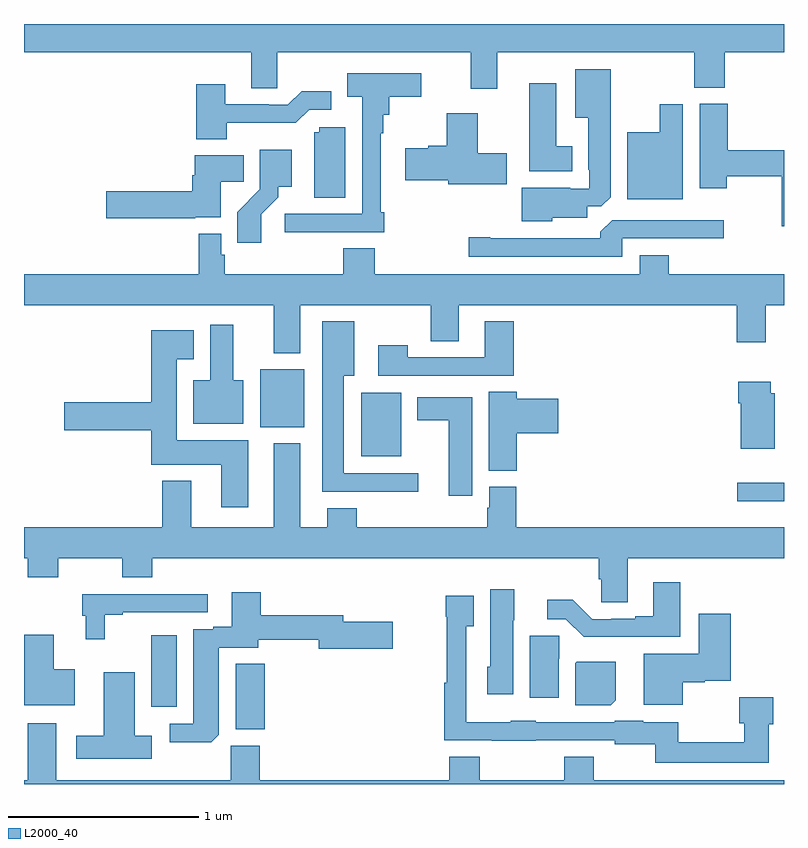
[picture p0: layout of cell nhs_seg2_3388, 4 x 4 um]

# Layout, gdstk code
import gdstk
lib = gdstk.Library(unit=1e-6, precision=1e-09)
def R(c, l, rs):  # rectangles x0, y0, x1, y1
    for r in rs: c.add(gdstk.rectangle(r[:2], r[2:], *l))
def P(c, l, *ps):  # polygons
    for p in ps: c.add(gdstk.Polygon(p, *l))
L2000_40 = (2000, 40)

nhs_seg2_3388 = lib.new_cell('nhs_seg2_3388')
R(nhs_seg2_3388, L2000_40, [(290.114,628.087,290.267,628.433), (289.67,628.206,289.804,628.582), (292.755,629.288,293,629.385), (290.774,629.525,290.986,629.86), (290.243,629.678,290.476,629.983)])
P(nhs_seg2_3388, L2000_40, [(292.528,631.465),(292.688,631.465),(292.688,631.652),(293,631.652),(293,631.8),(289,631.8),(289,631.652),(290.195,631.652),(290.195,631.462),(290.334,631.462),(290.334,631.652),(291.35,631.652),(291.35,631.458),(291.49,631.458),(291.49,631.652),(292.528,631.652)],
  [(291.78,630.779),(291.964,630.779),(291.964,630.84),(292.038,630.84),(292.087,630.889),(292.087,631.561),(291.902,631.561),(291.902,631.307),(291.971,631.307),(291.971,631.033),(291.975,631.033),(291.975,630.933),(291.875,630.933),(291.875,630.937),(291.62,630.937),(291.62,630.761),(291.78,630.761)],
  [(290.597,630.705),(290.897,630.705),(290.897,630.808),(290.877,630.808),(290.877,631.226),(290.89,631.226),(290.89,631.322),(290.922,631.322),(290.922,631.418),(291.091,631.418),(291.091,631.54),(290.701,631.54),(290.701,631.418),(290.781,631.418),(290.781,630.801),(290.373,630.801),(290.373,630.703),(290.597,630.703)],
  [(291.886,631.156),(291.802,631.156),(291.802,631.489),(291.659,631.489),(291.659,631.025),(291.886,631.025)],
  [(290.067,631.28),(290.431,631.28),(290.502,631.35),(290.616,631.35),(290.616,631.447),(290.461,631.447),(290.388,631.374),(290.288,631.374),(290.288,631.377),(290.059,631.377),(290.059,631.483),(289.907,631.483),(289.907,631.193),(290.067,631.193)],
  [(293,631.136),(292.703,631.136),(292.703,631.38),(292.556,631.38),(292.556,630.936),(292.698,630.936),(292.698,631),(292.987,631),(292.987,630.735),(293,630.735)],
  [(292.468,631.378),(292.346,631.378),(292.346,631.231),(292.175,631.231),(292.175,630.878),(292.468,630.878)],
  [(291.541,631.119),(291.388,631.119),(291.388,631.33),(291.226,631.33),(291.226,631.16),(291.128,631.16),(291.128,631.147),(291.006,631.147),(291.006,630.977),(291.233,630.977),(291.233,630.956),(291.541,630.956)],
  [(290.692,631.257),(290.553,631.257),(290.553,631.23),(290.528,631.23),(290.528,630.886),(290.692,630.886)],
  [(290.248,630.799),(290.338,630.889),(290.338,630.944),(290.41,630.944),(290.41,631.138),(290.241,631.138),(290.241,630.929),(290.122,630.81),(290.122,630.648),(290.248,630.648)],
  [(289.902,630.782),(290.035,630.782),(290.035,630.97),(290.156,630.97),(290.156,631.108),(289.898,631.108),(289.898,631.004),(289.886,631.004),(289.886,630.92),(289.434,630.92),(289.434,630.778),(289.902,630.778)],
  [(292.149,630.672),(292.684,630.672),(292.684,630.768),(292.095,630.768),(292.034,630.706),(292.034,630.672),(291.454,630.672),(291.454,630.677),(291.342,630.677),(291.342,630.576),(292.149,630.576)],
  [(290.455,630.32),(291.142,630.32),(291.142,630.13),(291.289,630.13),(291.289,630.32),(292.751,630.32),(292.751,630.126),(292.903,630.126),(292.903,630.32),(293,630.32),(293,630.484),(292.394,630.484),(292.394,630.583),(292.241,630.583),(292.241,630.484),(290.846,630.484),(290.846,630.62),(290.681,630.62),(290.681,630.484),(290.057,630.484),(290.057,630.585),(290.037,630.585),(290.037,630.697),(289.921,630.697),(289.921,630.484),(289,630.484),(289,630.32),(290.315,630.32),(290.315,630.068),(290.455,630.068)],
  [(291.076,629.436),(290.683,629.436),(290.683,629.948),(290.737,629.948),(290.737,630.235),(290.57,630.235),(290.57,629.339),(291.076,629.339)],
  [(291.578,630.235),(291.425,630.235),(291.425,630.045),(291.021,630.045),(291.021,630.109),(290.865,630.109),(290.865,629.949),(291.578,629.949)],
  [(290.155,629.926),(290.101,629.926),(290.101,630.217),(289.979,630.217),(289.979,629.926),(289.892,629.926),(289.892,629.696),(290.155,629.696)],
  [(290.179,629.608),(289.804,629.608),(289.804,630.035),(289.894,630.035),(289.894,630.187),(289.67,630.187),(289.67,629.81),(289.212,629.81),(289.212,629.663),(289.67,629.663),(289.67,629.48),(290.039,629.48),(290.039,629.256),(290.179,629.256)],
  [(292.951,629.856),(292.93,629.856),(292.93,629.917),(292.76,629.917),(292.76,629.804),(292.772,629.804),(292.772,629.564),(292.951,629.564)],
  [(291.593,629.645),(291.811,629.645),(291.811,629.828),(291.593,629.828),(291.593,629.864),(291.446,629.864),(291.446,629.449),(291.593,629.449)],
  [(291.358,629.836),(291.071,629.836),(291.071,629.714),(291.236,629.714),(291.236,629.316),(291.358,629.316)],
  [(292.177,628.988),(293,628.988),(293,629.152),(291.59,629.152),(291.59,629.364),(291.449,629.364),(291.449,629.253),(291.437,629.253),(291.437,629.152),(290.75,629.152),(290.75,629.251),(290.597,629.251),(290.597,629.152),(290.455,629.152),(290.455,629.593),(290.315,629.593),(290.315,629.152),(289.879,629.152),(289.879,629.395),(289.727,629.395),(289.727,629.152),(289,629.152),(289,628.988),(289.019,628.988),(289.019,628.889),(289.179,628.889),(289.179,628.988),(289.516,628.988),(289.516,628.889),(289.676,628.889),(289.676,628.988),(292.025,628.988),(292.025,628.878),(292.038,628.878),(292.038,628.756),(292.177,628.756)],
  [(292.453,628.861),(292.313,628.861),(292.313,628.684),(292.217,628.684),(292.217,628.671),(292.09,628.671),(292.09,628.668),(291.99,628.668),(291.888,628.771),(291.753,628.771),(291.753,628.668),(291.852,628.668),(291.947,628.574),(292.453,628.574)],
  [(291.574,628.662),(291.58,628.662),(291.58,628.825),(291.455,628.825),(291.455,628.416),(291.437,628.416),(291.437,628.272),(291.574,628.272)],
  [(290.026,628.06),(290.026,628.518),(290.233,628.518),(290.233,628.558),(290.552,628.558),(290.552,628.511),(290.941,628.511),(290.941,628.653),(290.68,628.653),(290.68,628.687),(290.246,628.687),(290.246,628.81),(290.093,628.81),(290.093,628.627),(289.997,628.627),(289.997,628.614),(289.892,628.614),(289.892,628.116),(289.767,628.116),(289.767,628.019),(289.985,628.019)],
  [(289.425,628.692),(289.519,628.692),(289.519,628.704),(289.966,628.704),(289.966,628.8),(289.306,628.8),(289.306,628.686),(289.325,628.686),(289.325,628.563),(289.425,628.563)],
  [(292.919,628.114),(292.943,628.114),(292.943,628.256),(292.765,628.256),(292.765,628.121),(292.791,628.121),(292.791,628.021),(292.444,628.021),(292.444,628.126),(292.26,628.126),(292.26,628.132),(292.11,628.132),(292.11,628.125),(291.693,628.125),(291.693,628.132),(291.561,628.132),(291.561,628.126),(291.327,628.126),(291.327,628.631),(291.367,628.631),(291.367,628.792),(291.219,628.792),(291.219,628.679),(291.226,628.679),(291.226,628.332),(291.211,628.332),(291.211,628.029),(291.461,628.029),(291.461,628.028),(291.693,628.028),(291.693,628.029),(292.11,628.029),(292.11,628.01),(292.323,628.01),(292.323,627.912),(292.919,627.912)],
  [(292.468,628.336),(292.584,628.336),(292.584,628.343),(292.721,628.343),(292.721,628.696),(292.55,628.696),(292.55,628.486),(292.262,628.486),(292.262,628.217),(292.468,628.217)],
  [(289.267,628.405),(289.156,628.405),(289.156,628.585),(289,628.585),(289,628.214),(289.267,628.214)],
  [(291.814,628.458),(291.818,628.458),(291.818,628.581),(291.662,628.581),(291.662,628.254),(291.814,628.254)],
  [(292.114,628.24),(292.114,628.444),(291.91,628.444),(291.902,628.436),(291.902,628.214),(292.088,628.214)],
  [(289.672,628.054),(289.582,628.054),(289.582,628.387),(289.421,628.387),(289.421,628.054),(289.275,628.054),(289.275,627.932),(289.672,627.932)],
  [(293,627.82),(291.999,627.82),(291.999,627.944),(291.844,627.944),(291.844,627.82),(291.399,627.82),(291.399,627.944),(291.239,627.944),(291.239,627.82),(290.24,627.82),(290.24,628.002),(290.089,628.002),(290.089,627.82),(289.171,627.82),(289.171,628.12),(289.019,628.12),(289.019,627.82),(289,627.82),(289,627.8),(293,627.8)])

lib.write_gds('nhs_seg2_3388.gds')
